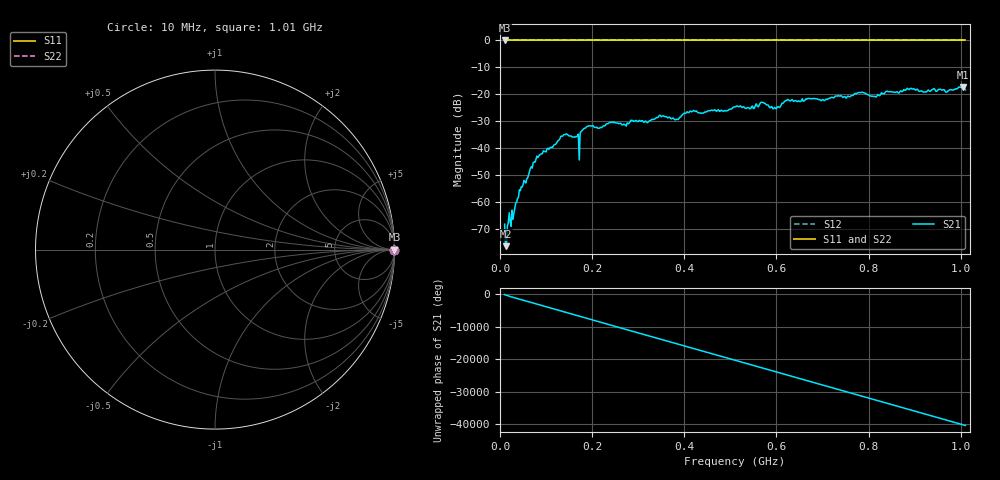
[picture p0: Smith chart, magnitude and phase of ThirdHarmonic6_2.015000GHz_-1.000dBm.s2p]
! 8/17/2025 12:11:47 AM
! C:\ANRITSUVNA\TEMP\TEMP.S2P
! CHANNEL.1
! TR.MEASUREMENT
! RAW.DATA
! RF.CORRECTION.OFF
! AVERAGING.OFF
! IF.BANDWIDTH: 5KHZ
! SWEEPTYPE:  FREQ.SWEEP(Linear)
! Reference Plane Port Info
! PORT:  PORT1  PORT2
! DISTANCE:  0  m  0  m
! TIME:  0  s  0  s
! PHASE.OFFSET:  0  deg.  0  deg.
! LOSS:  0  dB  0  dB
! REF.LOSS:  0  dB  0  dB
! REF.FREQ:  0  Hz  0  Hz
! Power Info
! POWER:  -20  dBm  -20  dBm
! EFF.POWER:  -20  dBm  -20  dBm
! SOURCE.ATTEN:  0  dB  0  dB
! TEST.ATTEN:  0  dB  0  dB
# GHZ S RI R 50.0
! FREQ.GHZ  S11RE  S11IM  S21RE  S21IM  S12RE  S12IM  S22RE  S22IM
!; PortSelection: Port_12
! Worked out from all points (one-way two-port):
!   501 points, 10 MHz to 1.01 GHz, reference 50 ohm
!   highest |S21| = -17.28 dB at 1.004 GHz (marker M1); lowest = -76.5 dB at 12 MHz (marker M2)
!   lowest |S11| = 0.0 dB at 10 MHz (marker M3)
!   |S11| at or under -10 dB: nowhere
!   |S22| runs from 0.0 to 0.0 dB; largest |S21 - S12| = 1.1
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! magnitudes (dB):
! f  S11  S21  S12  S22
! 10 MHz  0.0  -68.3  0.0  0.0
! 12 MHz  0.0  -76.5  0.0  0.0
! 46 MHz  0.0  -54.5  0.0  0.0
! 76 MHz  0.0  -45.3  0.0  0.0
! 136 MHz  0.0  -35.6  0.0  0.0
! 166 MHz  0.0  -35.8  0.0  0.0
! 168 MHz  0.0  -35.6  0.0  0.0
! 176 MHz  0.0  -33.9  0.0  0.0
! 178 MHz  0.0  -33.5  0.0  0.0
! 344 MHz  0.0  -28.4  0.0  0.0
! 384 MHz  0.0  -29.3  0.0  0.0
! 416 MHz  0.0  -26.6  0.0  0.0
! 510 MHz  0.0  -24.7  0.0  0.0
! 570 MHz  0.0  -23.1  0.0  0.0
! 596 MHz  0.0  -24.9  0.0  0.0
! 622 MHz  0.0  -22.4  0.0  0.0
! 678 MHz  0.0  -21.6  0.0  0.0
! 782 MHz  0.0  -19.4  0.0  0.0
! 814 MHz  0.0  -20.8  0.0  0.0
! 844 MHz  0.0  -19.1  0.0  0.0
! 1.004 GHz  0.0  -17.3  0.0  0.0
! 1.01 GHz  0.0  -18.4  0.0  0.0
